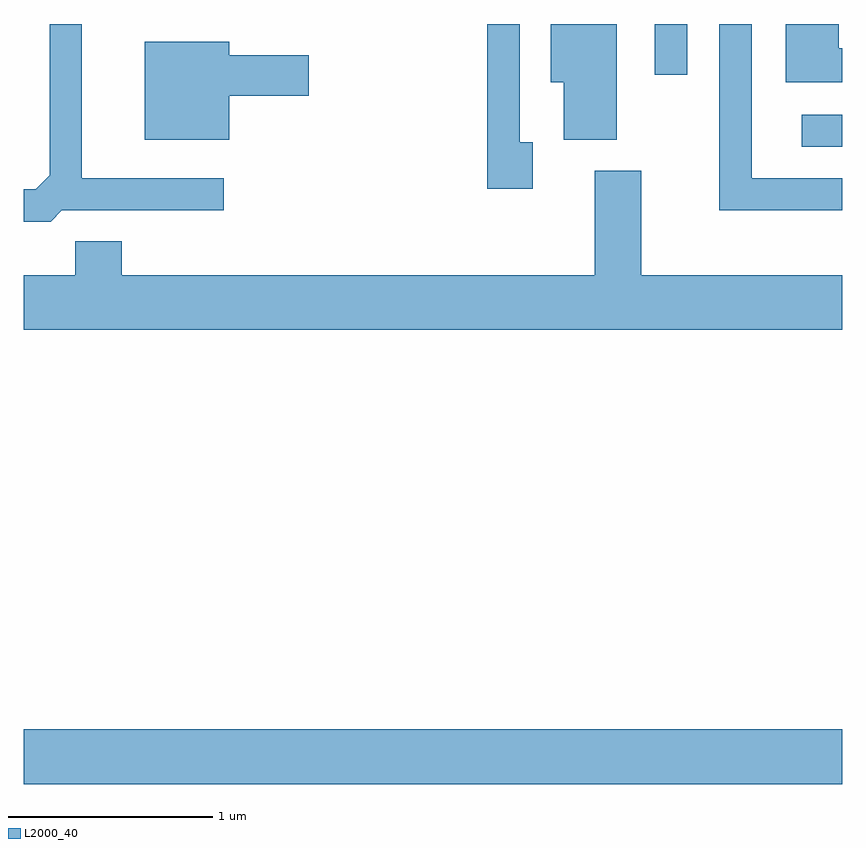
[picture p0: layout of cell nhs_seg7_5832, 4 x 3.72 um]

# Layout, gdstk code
import gdstk
lib = gdstk.Library(unit=1e-6, precision=1e-09)
def R(c, l, rs):  # rectangles x0, y0, x1, y1
    for r in rs: c.add(gdstk.rectangle(r[:2], r[2:], *l))
def P(c, l, *ps):  # polygons
    for p in ps: c.add(gdstk.Polygon(p, *l))
L2000_40 = (2000, 40)

nhs_seg7_5832 = lib.new_cell('nhs_seg7_5832')
R(nhs_seg7_5832, L2000_40, [(363.611,1716.536,367.611,1716.804), (367.413,1719.651,367.611,1719.809), (366.696,1720.003,366.854,1720.252)])
P(nhs_seg7_5832, L2000_40, [(367.611,1719.499),(367.169,1719.499),(367.169,1720.252),(367.011,1720.252),(367.011,1719.341),(367.611,1719.341)],
  [(366.509,1720.252),(366.186,1720.252),(366.186,1719.966),(366.251,1719.966),(366.251,1719.686),(366.509,1719.686)],
  [(363.797,1719.341),(364.588,1719.341),(364.588,1719.499),(363.894,1719.499),(363.894,1720.252),(363.736,1720.252),(363.736,1719.512),(363.669,1719.444),(363.611,1719.444),(363.611,1719.286),(363.742,1719.286)],
  [(366.099,1719.674),(366.034,1719.674),(366.034,1720.252),(365.876,1720.252),(365.876,1719.446),(366.099,1719.446)],
  [(367.611,1720.134),(367.594,1720.134),(367.594,1720.252),(367.336,1720.252),(367.336,1719.966),(367.611,1719.966)],
  [(364.614,1719.901),(365.004,1719.901),(365.004,1720.099),(364.614,1720.099),(364.614,1720.164),(364.201,1720.164),(364.201,1719.686),(364.614,1719.686)],
  [(367.611,1719.024),(366.629,1719.024),(366.629,1719.534),(366.401,1719.534),(366.401,1719.024),(364.089,1719.024),(364.089,1719.189),(363.861,1719.189),(363.861,1719.024),(363.611,1719.024),(363.611,1718.756),(367.611,1718.756)])

lib.write_gds('nhs_seg7_5832.gds')
